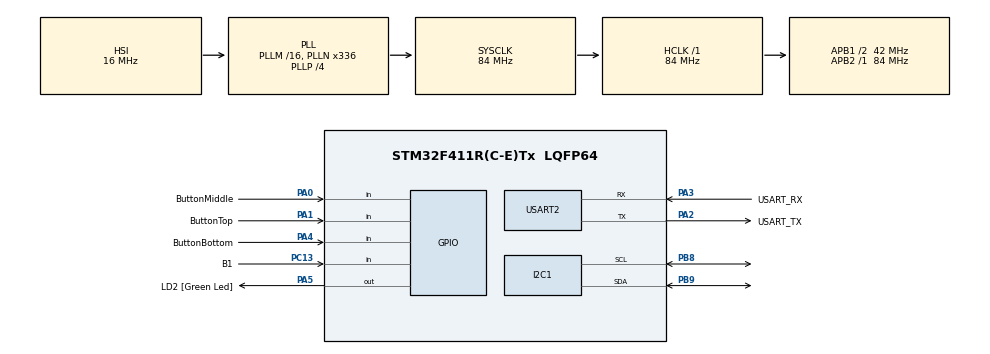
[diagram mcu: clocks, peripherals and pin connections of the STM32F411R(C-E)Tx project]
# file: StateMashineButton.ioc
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Mcu.Family=STM32F4
Mcu.Name=STM32F411R(C-E)Tx
Mcu.Package=LQFP64
NVIC.PriorityGroup=NVIC_PRIORITYGROUP_0
PA0-WKUP.GPIO_Label=ButtonMiddle
PA0-WKUP.GPIO_PuPd=GPIO_PULLUP
PA0-WKUP.Signal=GPIO_Input
PA1.GPIO_Label=ButtonTop
PA1.GPIO_PuPd=GPIO_PULLUP
PA1.Signal=GPIO_Input
PA13.GPIO_Label=TMS
PA13.Signal=SYS_JTMS-SWDIO
PA14.GPIO_Label=TCK
PA14.Signal=SYS_JTCK-SWCLK
PA2.GPIO_Label=USART_TX
PA2.Mode=Asynchronous
PA2.Signal=USART2_TX
PA3.GPIO_Label=USART_RX
PA3.Mode=Asynchronous
PA3.Signal=USART2_RX
PA4.GPIO_Label=ButtonBottom
PA4.GPIO_PuPd=GPIO_PULLUP
PA4.Signal=GPIO_Input
PA5.GPIO_Label=LD2 [Green Led]
PA5.Signal=GPIO_Output
PB3.GPIO_Label=SWO
PB3.Signal=SYS_JTDO-SWO
PB8.Mode=I2C
PB8.Signal=I2C1_SCL
PB9.Mode=I2C
PB9.Signal=I2C1_SDA
PC13-ANTI_TAMP.GPIO_Label=B1
PC13-ANTI_TAMP.Signal=GPIO_Input
PC14-OSC32_IN.Mode=LSE-External-Oscillator
PC14-OSC32_IN.Signal=RCC_OSC32_IN
PC15-OSC32_OUT.Mode=LSE-External-Oscillator
PC15-OSC32_OUT.Signal=RCC_OSC32_OUT
PH0\ -\ OSC_IN.Mode=HSE-External-Oscillator
PH0\ -\ OSC_IN.Signal=RCC_OSC_IN
PH1\ -\ OSC_OUT.Mode=HSE-External-Oscillator
PH1\ -\ OSC_OUT.Signal=RCC_OSC_OUT
ProjectManager.HeapSize=0x200
ProjectManager.StackSize=0x400
ProjectManager.TargetToolchain=STM32CubeIDE
RCC.48MHZClocksFreq_Value=84000000
RCC.AHBFreq_Value=84000000
RCC.APB1CLKDivider=RCC_HCLK_DIV2
RCC.APB1Freq_Value=42000000
RCC.APB1TimFreq_Value=84000000
RCC.APB2Freq_Value=84000000
RCC.APB2TimFreq_Value=84000000
RCC.CortexFreq_Value=84000000
RCC.FLatency-AdvancedSettings=FLASH_LATENCY_2
RCC.HCLKFreq_Value=84000000
RCC.HSE_VALUE=8000000
RCC.HSI_VALUE=16000000
RCC.PLLN=336
RCC.PLLP=RCC_PLLP_DIV4
RCC.RCC_RTC_Clock_Source=RCC_RTCCLKSOURCE_LSE
RCC.SYSCLKFreq_VALUE=84000000
RCC.SYSCLKSource=RCC_SYSCLKSOURCE_PLLCLK
RCC.VCOOutputFreq_Value=336000000
USART2.VirtualMode=VM_ASYNC
VP_RTC_VS_RTC_Activate.Mode=RTC_Enabled
board=NUCLEO-F411RE

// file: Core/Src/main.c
/* USER CODE BEGIN Header */
/**
  ******************************************************************************
  * @file           : main.c
  * @brief          : Main program body
  ******************************************************************************
  * @attention
  *
  * Copyright (c) 2026 STMicroelectronics.
  * All rights reserved.
  *
  * This software is licensed under terms that can be found in the LICENSE file
  * in the root directory of this software component.
  * If no LICENSE file comes with this software, it is provided AS-IS.
  *
  ******************************************************************************
  */
/* USER CODE END Header */
#include "main.h"
#include "i2c.h"
#include "rtc.h"
#include "usart.h"
#include "gpio.h"

/* USER CODE BEGIN Includes */
#include "Button.h"
#include "SSD1306_OLED.h"
#include "GFX_BlackWhite.h"
#include "fonts/fonts.h"
#include "stdio.h"
#include "PomodoroFSM.h"
#include "time.h"
/* USER CODE END Includes */

/* USER CODE BEGIN PV */
uint32_t TimerDebounce = 50;
uint32_t TimerLongPress = 2000;
uint32_t TimerRepeat = 500;

Button_t ButtonMiddle;
Button_t ButtonTop;
Button_t ButtonBottom;
uint8_t Length;

char Buffer[32];

RTC_TimeTypeDef Time;
RTC_DateTypeDef Date;

uint8_t Seconds;
uint8_t Minutes;
uint8_t Hours;
char TimeBuffer[16];

//Pomodoro FSM variables
Pomodoro_t Pomodoro;
/* USER CODE END PV */

void SystemClock_Config(void);
/* USER CODE BEGIN PFP */
void ToggleLed();
void TurnOnLed();
void TurnOffLed();

//Button Top
void ButtonTopPress();
void ButtonTopLongPress();
void ButtonTopRepeat();

//Button Bottom
void ButtonBottomPress();
void ButtonBottomLongPress();
void ButtonBottomRepeat();

//Button Middle
void ButtonMidLongPress();
void ButtonMidPress();

//Function to update display
void UpdateDisplay();
void DrawMenuItem(uint8_t y, char* Label, uint16_t Value, uint8_t IsSelected);

int32_t GetCurrentUnixTime(RTC_HandleTypeDef *hrtc);
void ChangeTimeFormat(int32_t TimeInSeconds, uint8_t *Hours, uint8_t *Minutes, uint8_t *Seconds);

//Button Middle

/* USER CODE END PFP */

int main(void)
{

  /* MCU Configuration--------------------------------------------------------*/

  /* Reset of all peripherals, Initializes the Flash interface and the Systick. */
  HAL_Init();

  /* Configure the system clock */
  SystemClock_Config();

  /* Initialize all configured peripherals */
  MX_GPIO_Init();
  MX_USART2_UART_Init();
  MX_I2C1_Init();
  MX_RTC_Init();
  /* USER CODE BEGIN 2 */
  //Init middle button
  ButtonInit(&ButtonMiddle, ButtonMiddle_GPIO_Port, ButtonMiddle_Pin, TimerDebounce,TimerLongPress, TimerRepeat);
  ButtonRegisterPressCallback(&ButtonMiddle, ButtonMidPress);
  ButtonRegisterLongPressCallback(&ButtonMiddle, ButtonMidLongPress);
  ButtonRegisterRepeatCallback(&ButtonMiddle, ToggleLed);
  ButtonRegisterGoToIdleCallback(&ButtonMiddle, TurnOffLed);

  //Init top button
  ButtonInit(&ButtonTop, ButtonTop_GPIO_Port, ButtonTop_Pin, TimerDebounce, TimerLongPress, TimerRepeat);
  ButtonRegisterPressCallback(&ButtonTop, ButtonTopPress);
  ButtonRegisterLongPressCallback(&ButtonTop, ButtonTopLongPress);
  ButtonRegisterRepeatCallback(&ButtonTop, ButtonTopRepeat);
  ButtonRegisterGoToIdleCallback(&ButtonTop, TurnOffLed);

  //Init Bottom Button
  ButtonInit(&ButtonBottom, ButtonBottom_GPIO_Port, ButtonBottom_Pin, TimerDebounce, TimerLongPress, TimerRepeat);
  ButtonRegisterPressCallback(&ButtonBottom, ButtonBottomPress);
  ButtonRegisterLongPressCallback(&ButtonBottom, ButtonBottomLongPress);
  ButtonRegisterRepeatCallback(&ButtonBottom, ButtonBottomRepeat);
  ButtonRegisterGoToIdleCallback(&ButtonBottom, TurnOffLed);

  //Pomodoro FSM init
  PomodoroInit(&Pomodoro);

  GFX_SetFont(font_8x5);
  SSD1306_Init(&hi2c1);
  UpdateDisplay();

  /* USER CODE END 2 */

  /* Infinite loop */
  /* USER CODE BEGIN WHILE */
  while (1)
  {
	 // HAL_GPIO_WritePin( , GPIO_Pin, PinState), GPIO_Pin, PinState);
	 ButtonTask (&ButtonMiddle);
	 ButtonTask (&ButtonTop);
	 ButtonTask (&ButtonBottom);

	 //get current time
	 int32_t Now = GetCurrentUnixTime(&hrtc);
	 //pomodoro logic
	 PomodoroTask(&Pomodoro, Now);
	 if(Pomodoro.NeedsRedraw == 1)
	 {
		 Pomodoro.NeedsRedraw = 0;
		 UpdateDisplay();
	 }

    /* USER CODE END WHILE */

  }
}

void SystemClock_Config(void)
{
  RCC_OscInitTypeDef RCC_OscInitStruct = {0};
  RCC_ClkInitTypeDef RCC_ClkInitStruct = {0};

  /** Configure the main internal regulator output voltage
  */
  __HAL_RCC_PWR_CLK_ENABLE();
  __HAL_PWR_VOLTAGESCALING_CONFIG(PWR_REGULATOR_VOLTAGE_SCALE1);

  /** Initializes the RCC Oscillators according to the specified parameters
  * in the RCC_OscInitTypeDef structure.
  */
  RCC_OscInitStruct.OscillatorType = RCC_OSCILLATORTYPE_HSI|RCC_OSCILLATORTYPE_LSE;
  RCC_OscInitStruct.LSEState = RCC_LSE_ON;
  RCC_OscInitStruct.HSIState = RCC_HSI_ON;
  RCC_OscInitStruct.HSICalibrationValue = RCC_HSICALIBRATION_DEFAULT;
  RCC_OscInitStruct.PLL.PLLState = RCC_PLL_ON;
  RCC_OscInitStruct.PLL.PLLSource = RCC_PLLSOURCE_HSI;
  RCC_OscInitStruct.PLL.PLLM = 16;
  RCC_OscInitStruct.PLL.PLLN = 336;
  RCC_OscInitStruct.PLL.PLLP = RCC_PLLP_DIV4;
  RCC_OscInitStruct.PLL.PLLQ = 4;
  if (HAL_RCC_OscConfig(&RCC_OscInitStruct) != HAL_OK)
  {
    Error_Handler();
  }

  /** Initializes the CPU, AHB and APB buses clocks
  */
  RCC_ClkInitStruct.ClockType = RCC_CLOCKTYPE_HCLK|RCC_CLOCKTYPE_SYSCLK
                              |RCC_CLOCKTYPE_PCLK1|RCC_CLOCKTYPE_PCLK2;
  RCC_ClkInitStruct.SYSCLKSource = RCC_SYSCLKSOURCE_PLLCLK;
  RCC_ClkInitStruct.AHBCLKDivider = RCC_SYSCLK_DIV1;
  RCC_ClkInitStruct.APB1CLKDivider = RCC_HCLK_DIV2;
  RCC_ClkInitStruct.APB2CLKDivider = RCC_HCLK_DIV1;

  if (HAL_RCC_ClockConfig(&RCC_ClkInitStruct, FLASH_LATENCY_2) != HAL_OK)
  {
    Error_Handler();
  }
}

/* USER CODE BEGIN 4 */
void UpdateDisplay()
{
	switch(Pomodoro.CurrentState)
	{
	case POMO_STATE_IDLE:		//draw idle
			SSD1306_Clear(BLACK);
			//GFX_DrawRectangle(0, 0, 128, 63, PIXEL_WHITE);

			GFX_DrawString(10, 5, "CLICK TO START", PIXEL_WHITE, 0);

			//DrawMenuItem(17, "WORK", Pomodoro.CfgWorkTime, 0);
			//draw remaining time
			ChangeTimeFormat(Pomodoro.CfgWorkTime, &Hours, &Minutes, &Seconds);
			sprintf(Buffer,"WORK: %s", TimeBuffer);
			GFX_DrawString(10, 17, Buffer, PIXEL_WHITE, 0);

			//DrawMenuItem(29, "RELAX", Pomodoro.CfgRelaxTime, 0);
			//GFX_DrawString(10, 5, "CLICK TO START", PIXEL_WHITE, 0);

			ChangeTimeFormat(Pomodoro.CfgRelaxTime, &Hours, &Minutes, &Seconds);
			sprintf(Buffer,"RELAX: %s", TimeBuffer);
			GFX_DrawString(10, 29, Buffer, PIXEL_WHITE, 0);
			//DrawMenuItem(41, "START / IDLE", 0, 0);

			SSD1306_Display();
		break;
	case POMO_STATE_RUNNING:	//draw running
			SSD1306_Clear(BLACK);
			//GFX_DrawRectangle(0, 0, 128, 63, PIXEL_WHITE);
			if (Pomodoro.CurrentPhase == POMO_PHASE_WORK)
			{
				GFX_DrawString(10, 5, "WORK REMAINED", PIXEL_WHITE, 0);
			}
			else if(Pomodoro.CurrentPhase == POMO_PHASE_RELAX)
			{
				GFX_DrawString(10, 5, "RELAX REMAINED", PIXEL_WHITE, 0);
			}

			//draw remaining time
			  GFX_SetFontSize(4);
			ChangeTimeFormat(Pomodoro.TimeToDisplay, &Hours, &Minutes, &Seconds);
			GFX_DrawString(10, 20, TimeBuffer, PIXEL_WHITE, 0);
			  GFX_SetFontSize(1);

/*
			if (Pomodoro.CurrentPhase == POMO_PHASE_WORK)
			{
				DrawMenuItem(17, "WORK REMAINED", Pomodoro.TimeToDisplay, 0);
			}
			else if(Pomodoro.CurrentPhase == POMO_PHASE_RELAX)
			{
				DrawMenuItem(17, "RELAX REMAINED", Pomodoro.TimeToDisplay, 0);
			}
*/
			SSD1306_Display();
		break;
	case POMO_STATE_PAUSED:		//draw paused
			SSD1306_Clear(BLACK);

			//GFX_DrawString(10, 5, "PAUSED", PIXEL_WHITE, 0);

			if (Pomodoro.CurrentPhase == POMO_PHASE_WORK)
			{
				GFX_DrawString(5, 5, "PAUSED WORK REMAINED", PIXEL_WHITE, 0);
			}
			else
			{
				GFX_DrawString(5, 5, "PAUSED RELAX REMAINED", PIXEL_WHITE, 0);
			}

			//draw remaining time
			ChangeTimeFormat(Pomodoro.TimeToDisplay, &Hours, &Minutes, &Seconds);
			GFX_SetFontSize(4);
			GFX_DrawString(10, 20, TimeBuffer, PIXEL_WHITE, 0);
			GFX_SetFontSize(1);

			//GFX_DrawString(10, 47, "CLICK TO RESUME", PIXEL_WHITE, 0);
			SSD1306_Display();
		break;
	case POMO_STATE_ALARM:		//draw alarm
			SSD1306_Clear(BLACK);

			GFX_DrawString(10, 5, "ALARM", PIXEL_WHITE, 0);

			if  (Pomodoro.CurrentPhase == POMO_PHASE_RELAX)
			{
				GFX_DrawString(5, 17, "Get ready to work!", PIXEL_WHITE, 0);
			}
			else
			{
				GFX_DrawString(5, 17, "Get ready to relax!", PIXEL_WHITE, 0);
			}

			SSD1306_Display();
		break;
	case POMO_STATE_EDIT:		//draw edit
			if (Pomodoro.EditTarget == POMO_EDIT_WORK)
			{
				SSD1306_Clear(BLACK);
				//GFX_DrawRectangle(0, 0, 128, 63, PIXEL_WHITE);;
				GFX_SetFont(font_8x5);

				uint8_t Length = 0;

				Minutes = Pomodoro.CfgWorkTime % 60;
				Hours = Pomodoro.CfgWorkTime / 60;
				sprintf(TimeBuffer, "%02d:%02d", Hours, Minutes);
				Length = sprintf(Buffer, "WORK TIME: %s", TimeBuffer);
				GFX_DrawFillRectangle(5 - 2 , 5 - 2, Length * 6 + 4, 8 + 4, PIXEL_WHITE);
				GFX_DrawString(5, 5, Buffer, PIXEL_BLACK, 1);

				Minutes = Pomodoro.CfgRelaxTime % 60;
				Hours = Pomodoro.CfgRelaxTime / 60;
				sprintf(TimeBuffer, "%02d:%02d", Hours, Minutes);
				Length = sprintf(Buffer, "RELAX TIME: %s", TimeBuffer);
				GFX_DrawString(5, 17, Buffer, PIXEL_WHITE, 0);
				//GFX_DrawString(5, 17, "RELAX TIME: %s", TimeBuffer, PIXEL_WHITE, 0);

				SSD1306_Display();
			}
			else
			{
				SSD1306_Clear(BLACK);
				//GFX_DrawRectangle(0, 0, 128, 63, PIXEL_WHITE);
				GFX_SetFont(font_8x5);
				//DrawMenuItem(5, "WORK TIME:", Pomodoro.CfgWorkTime, 0);
				//DrawMenuItem(17, "RELAX TIME:", Pomodoro.CfgRelaxTime, 1);
				uint8_t Length = 0;

				Minutes = Pomodoro.CfgWorkTime % 60;
				Hours = Pomodoro.CfgWorkTime / 60;
				sprintf(TimeBuffer, "%02d:%02d", Hours, Minutes);
				Length = sprintf(Buffer, "WORK TIME: %s", TimeBuffer);
				GFX_DrawString(5, 5, Buffer, PIXEL_WHITE, 0);

				Minutes = Pomodoro.CfgRelaxTime % 60;
				Hours = Pomodoro.CfgRelaxTime / 60;
				sprintf(TimeBuffer, "%02d:%02d", Hours, Minutes);
				Length = sprintf(Buffer, "RELAX TIME: %s", TimeBuffer);
				GFX_DrawFillRectangle(5 - 2 , 17 - 2, Length * 6 + 4, 8 + 4, PIXEL_WHITE);
				GFX_DrawString(5, 17, Buffer, PIXEL_BLACK, 1);

				SSD1306_Display();
			}
		break;
	}
}
void ChangeTimeFormat(int32_t TimeInSeconds, uint8_t *Hours, uint8_t *Minutes, uint8_t *Seconds)
{
	*Seconds = (uint8_t) (TimeInSeconds % 60);

	*Minutes = (uint8_t) ((TimeInSeconds / 60) % 60);

	*Hours = (uint8_t) (TimeInSeconds / 3600);
	if(*Hours > 0)
		sprintf(TimeBuffer, "%02d:%02d:%02d", *Hours, *Minutes, *Seconds);
	else
		sprintf(TimeBuffer, "%02d:%02d", *Minutes, *Seconds);
}

void DrawMenuItem(uint8_t y, char* Label, uint16_t Value, uint8_t IsSelected)
{
	char TempBuffer[32];
	uint8_t Length;
	uint8_t x = 10;

	Length = sprintf(TempBuffer, "%s: %d", Label, Value);

	if(IsSelected)
	{
		GFX_DrawFillRectangle(x - 2 , y - 2, Length * 6 + 4, 8 + 4, PIXEL_WHITE);
		GFX_DrawString(x, y, TempBuffer, PIXEL_BLACK, 1);	//black text
	}
	else
	{
		GFX_DrawString(x, y, TempBuffer, PIXEL_WHITE, 0);	//white text
	}
}
/*
void ModifyWorkTime(int8_t ChangeTimeAmount)
{
	if(App.CurrentMode != EDIT_MODE) return;
	if(App.EditTarget == TARGET_WORK)
	{
		App.WorkTime += ChangeTimeAmount;
	}
	else
	{
		App.RelaxTime += ChangeTimeAmount;
	}

	if (App.WorkTime < 0){App.WorkTime = 0;}
	else if (App.WorkTime > 999){App.WorkTime = 999;}
	if (App.RelaxTime < 0){App.RelaxTime = 0;}
	else if (App.RelaxTime > 999){App.RelaxTime = 999;}
	App.DispalyNeedsUpdate = 1;
}
*/

/*
void UpdateDateWithSeconds(RTC_TimeTypeDef *Time, uint32_t SecondsToAdd)
{
	Time->Seconds = SecondsToAdd % 60;

	uint32_t MinutesToAdd = SecondsToAdd / 60;
	Time->Minutes = MinutesToAdd % 60;

	uint32_t HoursToAdd = MinutesToAdd / 24;
	Time->Hours = HoursToAdd % 24;
}
*/

/*
void TimeToSeconds(RTC_TimeTypeDef Time, uint32_t *Seconds)
{
	Seconds = Time.Seconds + Time.Minutes * 60 + Time.Hours * 3600;
}
*/
void ButtonMidPress()
{
	TurnOnLed();
	Pomodoro.Event = POMO_EVENT_ACTION;
}
void ButtonMidLongPress()
{
	TurnOffLed();
	Pomodoro.Event = POMO_EVENT_ACTION_2;
}
void ButtonTopPress()
{
	TurnOnLed();
	Pomodoro.Event = POMO_EVENT_INC;
	Pomodoro.EventParam = 1;
}
void ButtonTopLongPress()
{
	TurnOffLed();
	Pomodoro.Event = POMO_EVENT_INC;
	Pomodoro.EventParam = 4;
}
void ButtonTopRepeat()
{
	ToggleLed();
	Pomodoro.Event = POMO_EVENT_INC;
	Pomodoro.EventParam = 5;
}
void ButtonBottomPress()
{
	TurnOnLed();
	Pomodoro.Event = POMO_EVENT_INC;
	Pomodoro.EventParam = -1;
}
void ButtonBottomLongPress()
{
	TurnOffLed();
	Pomodoro.Event = POMO_EVENT_INC;
	Pomodoro.EventParam = -4;
}
void ButtonBottomRepeat()
{
	ToggleLed();
	Pomodoro.Event = POMO_EVENT_INC;
	Pomodoro.EventParam = -5;
}

void ToggleLed()
{
	HAL_GPIO_TogglePin(LD2_GPIO_Port, LD2_Pin);
}
void TurnOnLed()
{
	HAL_GPIO_WritePin(LD2_GPIO_Port, LD2_Pin, GPIO_PIN_SET);
}
void TurnOffLed()
{
	HAL_GPIO_WritePin(LD2_GPIO_Port, LD2_Pin,GPIO_PIN_RESET);
}

//calculate unix time (seconds passed from 1900)
int32_t GetCurrentUnixTime(RTC_HandleTypeDef *hrtc)
{
    RTC_TimeTypeDef sTime = {0};
    RTC_DateTypeDef sDate = {0};
    struct tm timeStruct = {0};

    // WAŻNE: W STM32 musisz odczytać najpierw CZAS, potem DATĘ!
    HAL_RTC_GetTime(hrtc, &sTime, RTC_FORMAT_BIN);
    HAL_RTC_GetDate(hrtc, &sDate, RTC_FORMAT_BIN);

    timeStruct.tm_year = sDate.Year + 100; // od 1900 roku
    timeStruct.tm_mon  = sDate.Month - 1;  // 0-11
    timeStruct.tm_mday = sDate.Date;
    timeStruct.tm_hour = sTime.Hours;
    timeStruct.tm_min  = sTime.Minutes;
    timeStruct.tm_sec  = sTime.Seconds;
    timeStruct.tm_isdst = -1;

    return (int32_t)mktime(&timeStruct);
}

/* USER CODE END 4 */

void Error_Handler(void)
{
  __disable_irq();
  while (1)
  {
  }
}
